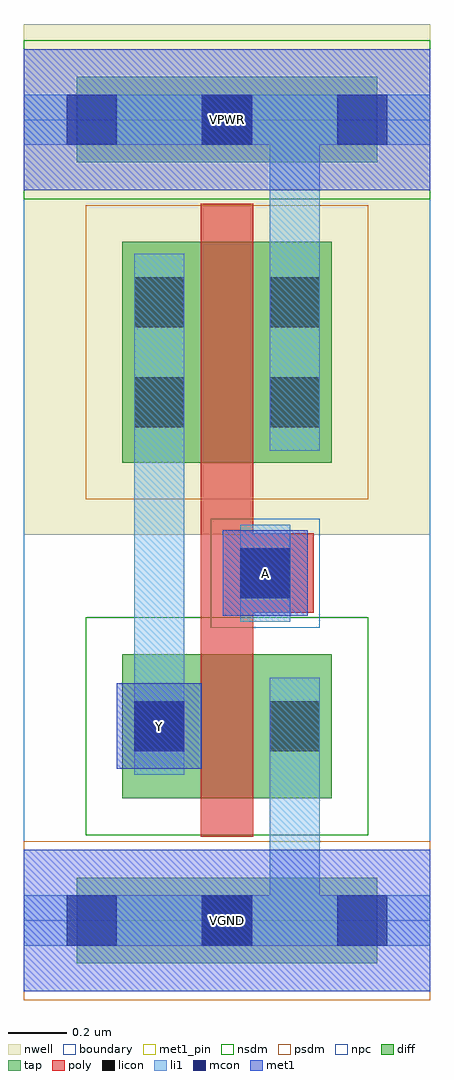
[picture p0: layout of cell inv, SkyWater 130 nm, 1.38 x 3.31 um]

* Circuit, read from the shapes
.subckt inv A VGND VPWR Y
XM1 VGND A Y VGND sky130_fd_pr__nfet_01v8 w=0.49 l=0.18
XM2 VPWR A Y VPWR sky130_fd_pr__pfet_01v8 w=0.75 l=0.18
.ends

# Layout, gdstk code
import gdstk
lib = gdstk.Library(unit=1e-6, precision=1e-09)
def R(c, l, rs):  # rectangles x0, y0, x1, y1
    for r in rs: c.add(gdstk.rectangle(r[:2], r[2:], *l))
def A(c, l, x, y, w, h, nx, ny, dx, dy):  # array of equal rectangles
    R(c, l, [(x+i*dx, y+j*dy, x+i*dx+w, y+j*dy+h) for i in range(nx) for j in range(ny)])
nwell = (64, 20)
diff = (65, 20)
tap = (65, 44)
poly = (66, 20)
licon = (66, 44)
li1 = (67, 20)
mcon = (67, 44)
met1_pin = (68, 16)
met1 = (68, 20)
nsdm = (93, 44)
psdm = (94, 20)
npc = (95, 20)
boundary = (235, 4)

inv = lib.new_cell('inv')
R(inv, nwell, [(0,1.31,1.38,3.045)])
R(inv, diff, [(0.335,0.415,1.045,0.905), (0.335,1.555,1.045,2.305)])
R(inv, tap, [(0.18,-0.145,1.2,0.145), (0.18,2.575,1.2,2.865)])
R(inv, poly, [(0.6,0.285,0.78,2.435), (0.655,1.045,0.985,1.315)])
R(inv, licon, [(0.605,-0.085,0.775,0.085), (0.375,0.575,0.545,0.745), (0.835,0.575,1.005,0.745), (0.735,1.095,0.905,1.265), (0.375,1.675,0.545,1.845), (0.835,1.675,1.005,1.845), (0.375,2.015,0.545,2.185), (0.835,2.015,1.005,2.185), (0.605,2.635,0.775,2.805)])
R(inv, li1, [(0,-0.085,1.38,0.085), (0.835,-0.085,1.005,0.825), (0.375,0.495,0.545,0.825), (0.375,0.495,0.545,2.265), (0.835,0.495,1.005,0.825), (0.735,1.015,0.905,1.345), (0.375,1.595,0.545,2.265), (0.835,1.595,1.005,2.265), (0.835,1.595,1.005,2.805), (0,2.635,1.38,2.805)])
A(inv, mcon, 0.145, -0.085, 0.17, 0.17, 3, 2, 0.46, 2.72)
R(inv, mcon, [(0.375,0.575,0.545,0.745), (0.735,1.095,0.905,1.265)])
R(inv, met1_pin, [(0,-0.24,1.38,0.24), (0.315,0.515,0.605,0.805), (0.675,1.035,0.965,1.325), (0,2.48,1.38,2.96)])
R(inv, met1, [(0,-0.24,1.38,0.24), (0.315,0.515,0.605,0.805), (0.675,1.035,0.965,1.325), (0,2.48,1.38,2.96)])
R(inv, nsdm, [(0.21,0.29,1.17,1.03), (0,2.45,1.38,2.99)])
R(inv, psdm, [(0,-0.27,1.38,0.27), (0.21,1.43,1.17,2.43)])
R(inv, npc, [(0.635,0.995,1.005,1.365)])
R(inv, boundary, [(0,0,1.38,2.72)])
inv.add(gdstk.Label('A', (0.82,1.18), layer=68, texttype=5))
inv.add(gdstk.Label('Y', (0.46,0.66), layer=68, texttype=5))
inv.add(gdstk.Label('VPWR', (0.69,2.72), layer=68, texttype=5))
inv.add(gdstk.Label('VGND', (0.69,0), layer=68, texttype=5))
inv.add(gdstk.Label('A', (0.82,1.18), layer=68, texttype=16))
inv.add(gdstk.Label('Y', (0.46,0.66), layer=68, texttype=16))
inv.add(gdstk.Label('VPWR', (0.69,2.72), layer=68, texttype=16))
inv.add(gdstk.Label('VGND', (0.69,0), layer=68, texttype=16))

lib.write_gds('inv.gds')
